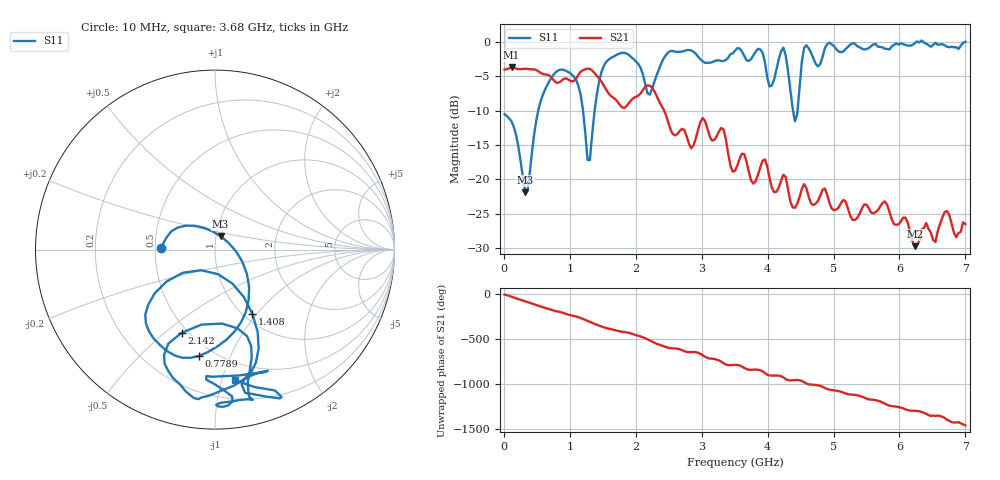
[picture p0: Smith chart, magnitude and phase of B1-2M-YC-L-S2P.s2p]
!File created by NanoVNA
# Hz S RI R 50
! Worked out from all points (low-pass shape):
!   201 points, 10 MHz to 7 GHz, reference 50 ohm
!   highest |S21| = -3.68 dB at 114.8 MHz (marker M1); lowest = -29.7 dB at 6.231 GHz (marker M2)
!   |S21| within 3 dB of the highest: start of sweep to 1.535 GHz; 2.129 GHz to 2.252 GHz (122.1 MHz wide, 5.57 % of centre)
!   lowest |S11| = -21.9 dB at 324.6 MHz (marker M3), VSWR 1.18, Z = 52.6 + j7.88 ohm
!   |S11| at or under -10 dB: start of sweep to 520.3 MHz; 1.2 GHz to 1.376 GHz (175.8 MHz wide, 13.6 % of centre); 4.386 GHz to 4.453 GHz (67.43 MHz wide, 1.53 % of centre)
!   S12 and S22 are empty: the file has one direction only
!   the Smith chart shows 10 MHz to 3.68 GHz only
!   S11 on the Smith chart (normalised r, x): 10 MHz: 0.54, +0.01; 778.9 MHz: 0.42, -0.77; 1.408 GHz: 1.10, -0.94; 2.142 GHz: 0.46, -0.57; 3.68 GHz: 0.35, -1.11
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1e7  -0.2987 0.0114  0.6304 -0.0329  0 0  0 0
1.1485e8  -0.244 0.1018  0.579 -0.3049  0 0  0 0
3.2455e8  0.0311 0.0744  0.1295 -0.6266  0 0  0 0
7.789e8  -0.0898 -0.5926  -0.51 0.0588  0 0  0 0
1.1983e9  -0.2689 -0.1773  0.0581 0.6214  0 0  0 0
1.30315e9  0.0176 -0.1371  0.3948 0.5022  0 0  0 0
1.408e9  0.2076 -0.3564  0.5348 0.1972  0 0  0 0
1.79245e9  -0.0918 -0.8333  0.1796 -0.2821  0 0  0 0
2.14195e9  -0.185 -0.4631  -0.3022 -0.3624  0 0  0 0
2.35165e9  0.2043 -0.6005  -0.3481 0.1323  0 0  0 0
3.505e9  0.2831 -0.8188  0.0464 -0.1056  0 0  0 0
3.67975e9  0.1125 -0.7285  -0.054 -0.1235  0 0  0 0
3.88945e9  0.4079 -0.7864  -0.0752 -0.0971  0 0  0 0
4.09915e9  -0.0248 -0.5352  -0.0802 0.00806  0 0  0 0
4.23895e9  0.536 -0.7385  -0.0968 0.048  0 0  0 0
4.4137e9  0.2511 -0.0849  -0.0348 0.0515  0 0  0 0
4.5535e9  0.5711 -0.7102  -0.0147 0.091  0 0  0 0
4.6933e9  0.728 -0.2328  0.0208 0.0615  0 0  0 0
4.903e9  0.7007 -0.6675  0.0711 0.0306  0 0  0 0
5.84665e9  0.8243 -0.3238  -0.0554 -0.0179  0 0  0 0
6.2311e9  0.9236 -0.3281  -0.0258 0.0199  0 0  0 0
7e9  1.006 -0.016  0.0436 -0.0179  0 0  0 0
